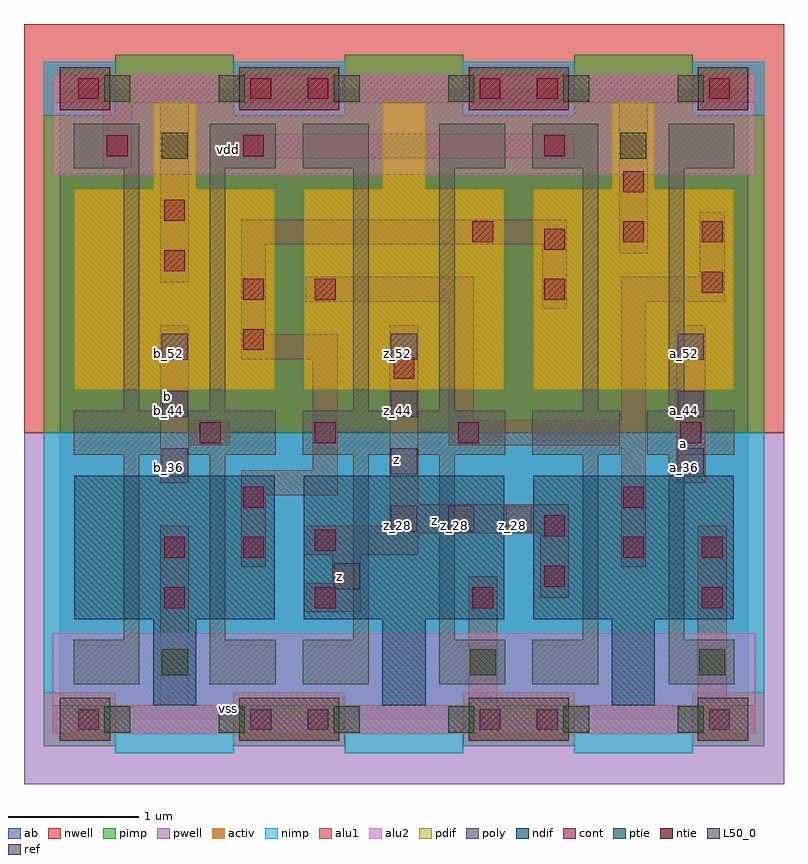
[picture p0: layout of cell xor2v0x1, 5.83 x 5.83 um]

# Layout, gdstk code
import gdstk
lib = gdstk.Library(unit=1e-6, precision=2.5e-09)
def R(c, l, rs):  # rectangles x0, y0, x1, y1
    for r in rs: c.add(gdstk.rectangle(r[:2], r[2:], *l))
def A(c, l, x, y, w, h, nx, ny, dx, dy):  # array of equal rectangles
    R(c, l, [(x+i*dx, y+j*dy, x+i*dx+w, y+j*dy+h) for i in range(nx) for j in range(ny)])
ndif = (3, 0)
pdif = (4, 0)
ntie = (5, 0)
ptie = (6, 0)
ref = (24, 0)
cont = (25, 0)
pwell = (41, 0)
nwell = (42, 0)
activ = (43, 0)
pimp = (44, 0)
nimp = (45, 0)
poly = (46, 0)
alu1 = (49, 0)
L50_0 = (50, 0)
alu2 = (51, 0)
ab = (63, 0)

xor2v0x1 = lib.new_cell('xor2v0x1')
A(xor2v0x1, ndif, 0.715, 0.11, 0.33, 0.66, 3, 1, 1.76, 0)
A(xor2v0x1, ndif, 0.11, 0.77, 1.54, 1.1, 3, 1, 1.76, 0)
A(xor2v0x1, pdif, 0.11, 2.53, 1.54, 1.54, 3, 1, 1.76, 0)
A(xor2v0x1, pdif, 0.715, 4.07, 0.33, 0.66, 3, 1, 1.76, 0)
R(xor2v0x1, ntie, [(0,4.675,0.385,5.005), (1.375,4.675,2.145,5.005), (3.135,4.675,3.905,5.005), (4.895,4.675,5.28,5.005)])
R(xor2v0x1, ptie, [(0,-0.165,0.385,0.165), (1.375,-0.165,2.145,0.165), (3.135,-0.165,3.905,0.165), (4.895,-0.165,5.28,0.165)])
A(xor2v0x1, ref, 2.54, 1.44, 0.2, 0.2, 3, 1, 0.44, 0)
A(xor2v0x1, ref, 0.78, 1.88, 0.2, 0.2, 1, 3, 0, 0.44)
A(xor2v0x1, ref, 2.54, 1.88, 0.2, 0.2, 1, 3, 0, 0.44)
A(xor2v0x1, ref, 4.74, 1.88, 0.2, 0.2, 1, 3, 0, 0.44)
R(xor2v0x1, ref, [(2.1,1,2.3,1.2)])
R(xor2v0x1, cont, [(0.14,-0.08,0.3,0.08), (1.46,-0.08,1.62,0.08), (1.9,-0.08,2.06,0.08), (3.22,-0.08,3.38,0.08), (3.66,-0.08,3.82,0.08), (4.98,-0.08,5.14,0.08), (0.8,0.855,0.96,1.015), (1.955,0.855,2.115,1.015), (3.165,0.855,3.325,1.015), (4.925,0.855,5.085,1.015), (3.715,1.02,3.875,1.18), (0.8,1.24,0.96,1.4), (1.405,1.24,1.565,1.4), (4.32,1.24,4.48,1.4), (4.925,1.24,5.085,1.4), (1.955,1.295,2.115,1.455), (3.715,1.405,3.875,1.565), (1.405,1.625,1.565,1.785), (4.32,1.625,4.48,1.785), (1.075,2.12,1.235,2.28), (1.955,2.12,2.115,2.28), (3.055,2.12,3.215,2.28), (4.76,2.12,4.92,2.28), (2.56,2.615,2.72,2.775), (1.405,2.835,1.565,2.995), (1.405,3.22,1.565,3.38), (1.955,3.22,2.115,3.38), (3.715,3.22,3.875,3.38), (4.925,3.275,5.085,3.435), (0.8,3.44,0.96,3.6), (3.715,3.605,3.875,3.765), (3.165,3.66,3.325,3.82), (4.32,3.66,4.48,3.82), (4.925,3.66,5.085,3.82), (0.8,3.825,0.96,3.985), (4.32,4.045,4.48,4.205), (0.36,4.32,0.52,4.48), (1.405,4.32,1.565,4.48), (3.715,4.32,3.875,4.48), (0.14,4.76,0.3,4.92), (1.46,4.76,1.62,4.92), (1.9,4.76,2.06,4.92), (3.22,4.76,3.38,4.92), (3.66,4.76,3.82,4.92), (4.98,4.76,5.14,4.92)])
R(xor2v0x1, pwell, [(-0.275,-0.495,5.555,2.2)])
R(xor2v0x1, nwell, [(-0.275,2.2,5.555,5.335)])
A(xor2v0x1, activ, 0.715, 0.11, 0.33, 0.66, 3, 2, 1.76, 3.96)
A(xor2v0x1, activ, 0.11, 0.77, 1.54, 1.1, 3, 1, 1.76, 0)
A(xor2v0x1, activ, 0.11, 2.53, 1.54, 1.54, 3, 1, 1.76, 0)
R(xor2v0x1, activ, [(0,-0.165,0.385,0.165), (1.375,-0.165,2.145,0.165), (3.135,-0.165,3.905,0.165), (4.895,-0.165,5.28,0.165), (0,4.675,0.385,5.005), (1.375,4.675,2.145,5.005), (3.135,4.675,3.905,5.005), (4.895,4.675,5.28,5.005)])
A(xor2v0x1, pimp, 0.425, 4.635, 0.91, 0.465, 3, 1, 1.76, 0)
R(xor2v0x1, pimp, [(-0.125,-0.205,0.425,0.205), (1.335,-0.205,2.185,0.205), (3.095,-0.205,3.945,0.205), (4.855,-0.205,5.405,0.205), (-0.125,2.2,5.405,4.635)])
A(xor2v0x1, nimp, 0.425, -0.26, 0.91, 0.465, 3, 1, 1.76, 0)
R(xor2v0x1, nimp, [(-0.125,0.205,5.405,2.2), (-0.125,4.635,0.425,5.045), (1.335,4.635,2.185,5.045), (3.095,4.635,3.945,5.045), (4.855,4.635,5.405,5.045)])
A(xor2v0x1, poly, 0.105, 2.03, 0.67, 0.34, 6, 1, 0.88, 0)
R(xor2v0x1, poly, [(0.105,0.27,0.61,0.61), (1.15,0.27,1.655,0.61), (1.865,0.27,2.37,0.61), (2.91,0.27,3.415,0.61), (3.625,0.27,4.13,0.61), (4.67,0.27,5.175,0.61), (0.49,0.61,0.61,2.03), (1.15,0.61,1.27,2.03), (2.25,0.61,2.37,2.03), (2.91,0.61,3.03,2.03), (4.01,0.61,4.13,2.03), (4.67,0.61,4.79,2.03), (0.49,2.37,0.61,4.23), (1.15,2.37,1.27,4.23), (2.25,2.37,2.37,4.23), (2.91,2.37,3.03,4.23), (4.01,2.37,4.13,4.23), (4.67,2.37,4.79,4.23), (0.105,4.23,0.61,4.57), (1.15,4.23,1.655,4.57), (1.865,4.23,2.37,4.57), (2.91,4.23,3.415,4.57), (3.625,4.23,4.13,4.57), (4.67,4.23,5.175,4.57)])
R(xor2v0x1, alu1, [(-0.055,-0.11,5.335,0.11), (0.77,0.11,0.99,1.485), (3.135,0.11,3.355,1.1), (4.895,0.11,5.115,1.485), (1.87,0.825,2.31,1.045), (3.685,0.935,3.905,1.43), (2.09,1.045,2.31,1.265), (1.39,1.17,1.58,1.72), (4.305,1.17,4.495,2.105), (1.87,1.265,2.75,1.43), (1.87,1.43,3.905,1.485), (2.53,1.485,3.905,1.65), (2.53,1.65,2.75,3.025), (1.39,1.72,2.13,1.91), (0.77,1.815,0.99,2.105), (4.73,1.815,4.95,3.025), (1.94,1.91,2.13,2.765), (0.77,2.105,1.305,2.295), (2.985,2.105,4.495,2.295), (0.77,2.295,0.99,3.025), (2.985,2.295,3.175,3.205), (4.305,2.295,4.495,3.205), (1.39,2.765,2.13,2.955), (1.39,2.955,1.58,3.645), (3.7,3.15,3.89,3.645), (1.885,3.205,3.175,3.395), (4.305,3.205,5.1,3.395), (0.77,3.355,0.99,4.73), (4.91,3.395,5.1,3.89), (4.29,3.575,4.51,4.73), (1.39,3.645,3.89,3.835), (0.33,4.235,0.55,4.73), (1.335,4.305,3.945,4.495), (-0.055,4.73,5.335,4.95)])
A(xor2v0x1, L50_0, 0.34, -0.1, 0.2, 0.2, 6, 2, 0.88, 4.84)
R(xor2v0x1, L50_0, [(0.78,0.34,0.98,0.54), (3.145,0.34,3.345,0.54), (4.905,0.34,5.105,0.54), (0.78,4.3,0.98,4.5), (4.3,4.3,4.5,4.5)])
R(xor2v0x1, alu2, [(-0.055,-0.11,5.335,0.66), (-0.055,4.18,5.335,4.95)])
R(xor2v0x1, ab, [(0,0,5.28,4.84)])
xor2v0x1.add(gdstk.Label('a', (4.785,2.1175), layer=49, texttype=0))
xor2v0x1.add(gdstk.Label('z', (2.145,1.1), layer=49, texttype=0))
xor2v0x1.add(gdstk.Label('z', (2.8725,1.525), layer=49, texttype=0))
xor2v0x1.add(gdstk.Label('z', (2.585,1.9925), layer=49, texttype=0))
xor2v0x1.add(gdstk.Label('b', (0.825,2.4775), layer=49, texttype=0))
xor2v0x1.add(gdstk.Label('vss', (1.2925,0.0825), layer=51, texttype=0))
xor2v0x1.add(gdstk.Label('vdd', (1.2925,4.3725), layer=51, texttype=0))
xor2v0x1.add(gdstk.Label('z_20', (2.15,1.05), layer=24, texttype=0))
xor2v0x1.add(gdstk.Label('z_28', (3.47,1.49), layer=24, texttype=0))
xor2v0x1.add(gdstk.Label('z_28', (3.03,1.49), layer=24, texttype=0))
xor2v0x1.add(gdstk.Label('z_28', (2.59,1.49), layer=24, texttype=0))
xor2v0x1.add(gdstk.Label('z_36', (2.59,1.93), layer=24, texttype=0))
xor2v0x1.add(gdstk.Label('z_44', (2.59,2.37), layer=24, texttype=0))
xor2v0x1.add(gdstk.Label('z_52', (2.59,2.81), layer=24, texttype=0))
xor2v0x1.add(gdstk.Label('b_52', (0.83,2.81), layer=24, texttype=0))
xor2v0x1.add(gdstk.Label('b_44', (0.83,2.37), layer=24, texttype=0))
xor2v0x1.add(gdstk.Label('b_36', (0.83,1.93), layer=24, texttype=0))
xor2v0x1.add(gdstk.Label('a_52', (4.79,2.81), layer=24, texttype=0))
xor2v0x1.add(gdstk.Label('a_44', (4.79,2.37), layer=24, texttype=0))
xor2v0x1.add(gdstk.Label('a_36', (4.79,1.93), layer=24, texttype=0))

lib.write_gds('xor2v0x1.gds')
